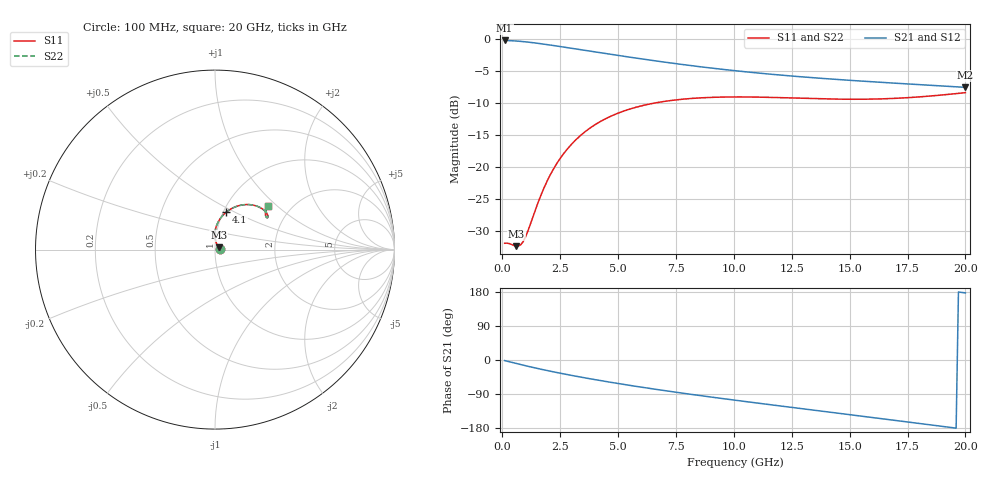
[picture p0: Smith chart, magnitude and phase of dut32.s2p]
! Created with skrf 1.9.0 (http://scikit-rf.org).
# GHz S RI R 50.0
!freq ReS11 ImS11 ReS21 ImS21 ReS12 ImS12 ReS22 ImS22
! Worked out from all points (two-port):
!   200 points, 100 MHz to 20 GHz, reference 50 ohm
!   highest |S21| = -0.23 dB at 100 MHz (marker M1); lowest = -7.6 dB at 20 GHz (marker M2)
!   |S21| within 3 dB of the highest: start of sweep to 6.236 GHz
!   lowest |S11| = -32.4 dB at 600 MHz (marker M3), VSWR 1.05, Z = 52.1 + j1.22 ohm
!   |S11| at or under -10 dB: start of sweep to 6.6 GHz
!   |S22| runs from -32.4 to -8.4 dB; largest |S21 - S12| = 2.2e-15
!   S11 on the Smith chart (normalised r, x): 100 MHz: 1.05, +0.00; 4.1 GHz: 1.03, +0.46; 20 GHz: 1.54, +0.87
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0.1  0.0252 0.00156  0.974 -0.0261  0.974 -0.0261  0.0252 0.00156
0.6  0.0209 0.0117  0.9524 -0.1534  0.9524 -0.1534  0.0209 0.0117
0.8  0.0171 0.0177  0.9369 -0.2014  0.9369 -0.2014  0.0171 0.0177
1  0.0129 0.0251  0.918 -0.2468  0.918 -0.2468  0.0129 0.0251
1.7  0.000711 0.062  0.833 -0.3838  0.833 -0.3838  0.000711 0.062
2  -0.000819 0.0817  0.7907 -0.4319  0.7907 -0.4319  -0.000819 0.0817
2.3  0.000677 0.1024  0.7467 -0.474  0.7467 -0.474  0.000677 0.1024
2.6  0.00526 0.1234  0.7016 -0.5107  0.7016 -0.5107  0.00526 0.1234
2.9  0.0127 0.1437  0.6561 -0.5425  0.6561 -0.5425  0.0127 0.1437
3.5  0.0349 0.1803  0.5651 -0.5928  0.5651 -0.5928  0.0349 0.1803
4.1  0.0638 0.2095  0.476 -0.628  0.476 -0.628  0.0638 0.2095
4.7  0.096 0.2304  0.3903 -0.6503  0.3903 -0.6503  0.096 0.2304
5.3  0.1287 0.2435  0.309 -0.6618  0.309 -0.6618  0.1287 0.2435
6.8  0.2016 0.2497  0.128 -0.6549  0.128 -0.6549  0.2016 0.2497
8.4  0.2554 0.2321  -0.0289 -0.6107  -0.0289 -0.6107  0.2554 0.2321
10.1  0.2855 0.2065  -0.1599 -0.5407  -0.1599 -0.5407  0.2855 0.2065
11.7  0.2947 0.1871  -0.2558 -0.4623  -0.2558 -0.4623  0.2947 0.1871
13.4  0.2924 0.1775  -0.3334 -0.3704  -0.3334 -0.3704  0.2924 0.1775
15.1  0.2855 0.1808  -0.3882 -0.2719  -0.3882 -0.2719  0.2855 0.1808
16.7  0.2811 0.1946  -0.4191 -0.1754  -0.4191 -0.1754  0.2811 0.1946
18.3  0.2831 0.2156  -0.4295 -0.0781  -0.4295 -0.0781  0.2831 0.2156
20  0.2948 0.2408  -0.4181 0.0214  -0.4181 0.0214  0.2948 0.2408
